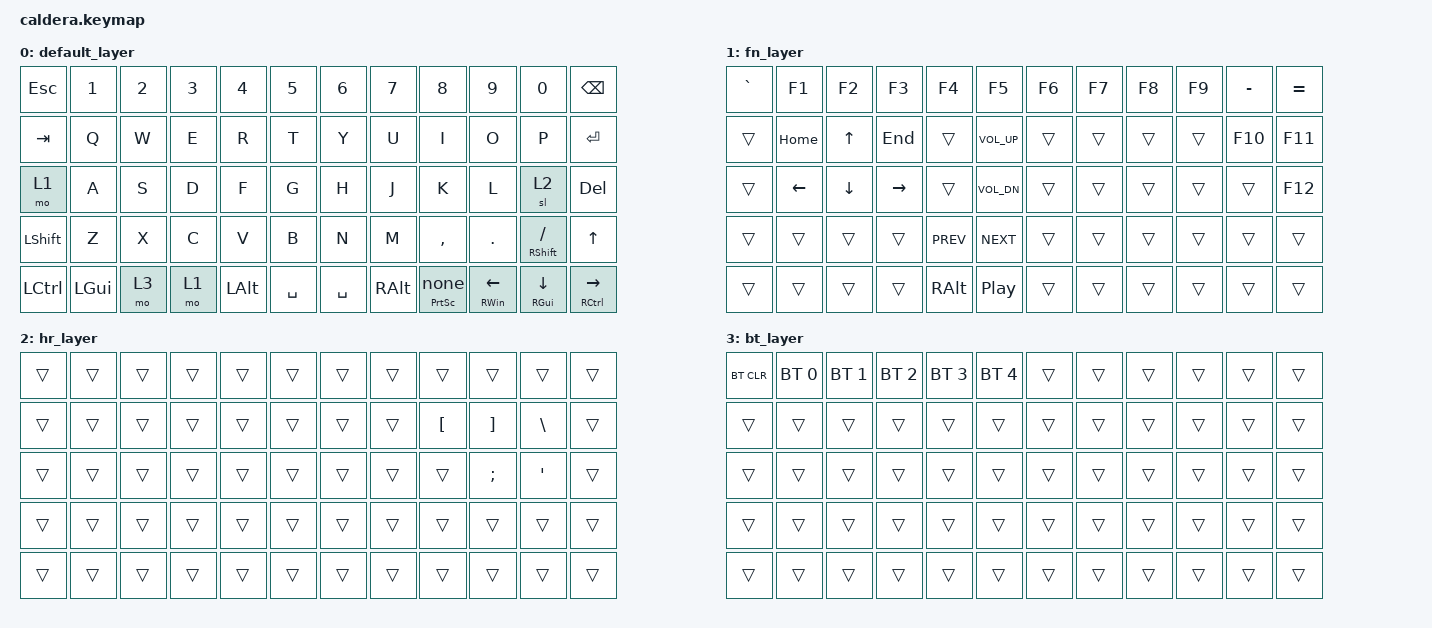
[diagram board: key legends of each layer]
#include <behaviors.dtsi>
#include <dt-bindings/zmk/bt.h>
#include <dt-bindings/zmk/keys.h>

/ {
    behaviors {
        mt_quick: mt_quick {
            compatible = "zmk,behavior-hold-tap";
            label = "MT_QUICK";
            bindings = <&kp>, <&kp>;

            #binding-cells = <2>;
            tapping-term-ms = <200>;
            flavor = "balanced";
            quick-tap-ms = <200>;
        };

        hold: hold {
            compatible = "zmk,behavior-hold-tap";
            label = "HOLD";
            bindings = <&kp>, <&none>;

            #binding-cells = <2>;
            tapping-term-ms = <200>;
        };
    };

    keymap {
        compatible = "zmk,keymap";

        default_layer {
            bindings = <
&kp ESC    &kp N1    &kp N2  &kp N3  &kp N4    &kp N5       &kp N6     &kp N7    &kp N8               &kp N9                          &kp N0                     &kp BSPC
&kp TAB    &kp Q     &kp W   &kp E   &kp R     &kp T        &kp Y      &kp U     &kp I                &kp O                           &kp P                      &kp ENTER
&mo 1      &kp A     &kp S   &kp D   &kp F     &kp G        &kp H      &kp J     &kp K                &kp L                           &sl 2                      &kp DEL
&kp LSHFT  &kp Z     &kp X   &kp C   &kp V     &kp B        &kp N      &kp M     &kp COMMA            &kp DOT                         &mt_quick RSHIFT FSLH      &kp UP_ARROW
&kp LCTRL  &kp LGUI  &mo 3   &mo 1   &kp LALT  &kp SPACE    &kp SPACE  &kp RALT  &hold PRINTSCREEN 0  &mt_quick RIGHT_WIN LEFT_ARROW  &mt_quick RGUI DOWN_ARROW  &mt_quick RCTRL RIGHT_ARROW
            >;
        };

        fn_layer {
            bindings = <
&kp GRAVE  &kp F1          &kp F2          &kp F3           &kp F4      &kp F5          &kp F6  &kp F7  &kp F8  &kp F9  &kp MINUS  &kp EQUAL
&trans     &kp HOME        &kp UP_ARROW    &kp END          &trans      &kp C_VOL_UP    &trans  &trans  &trans  &trans  &kp F10    &kp F11
&trans     &kp LEFT_ARROW  &kp DOWN_ARROW  &kp RIGHT_ARROW  &trans      &kp C_VOL_DN    &trans  &trans  &trans  &trans  &trans     &kp F12
&trans     &trans          &trans          &trans           &kp C_PREV  &kp C_NEXT      &trans  &trans  &trans  &trans  &trans     &trans
&trans     &trans          &trans          &trans           &kp RALT    &kp C_PP        &trans  &trans  &trans  &trans  &trans     &trans
            >;
        };

        hr_layer {
            bindings = <
&trans  &trans  &trans  &trans  &trans  &trans    &trans  &trans  &trans            &trans             &trans            &trans
&trans  &trans  &trans  &trans  &trans  &trans    &trans  &trans  &kp LEFT_BRACKET  &kp RIGHT_BRACKET  &kp BACKSLASH     &trans
&trans  &trans  &trans  &trans  &trans  &trans    &trans  &trans  &trans            &kp SEMICOLON      &kp SINGLE_QUOTE  &trans
&trans  &trans  &trans  &trans  &trans  &trans    &trans  &trans  &trans            &trans             &trans            &trans
&trans  &trans  &trans  &trans  &trans  &trans    &trans  &trans  &trans            &trans             &trans            &trans
            >;
        };

        bt_layer {
            bindings = <
&bt BT_CLR  &bt BT_SEL 0  &bt BT_SEL 1  &bt BT_SEL 2  &bt BT_SEL 3  &bt BT_SEL 4    &trans  &trans  &trans  &trans  &trans  &trans
&trans      &trans        &trans        &trans        &trans        &trans          &trans  &trans  &trans  &trans  &trans  &trans
&trans      &trans        &trans        &trans        &trans        &trans          &trans  &trans  &trans  &trans  &trans  &trans
&trans      &trans        &trans        &trans        &trans        &trans          &trans  &trans  &trans  &trans  &trans  &trans
&trans      &trans        &trans        &trans        &trans        &trans          &trans  &trans  &trans  &trans  &trans  &trans
            >;
        };
    };
};
